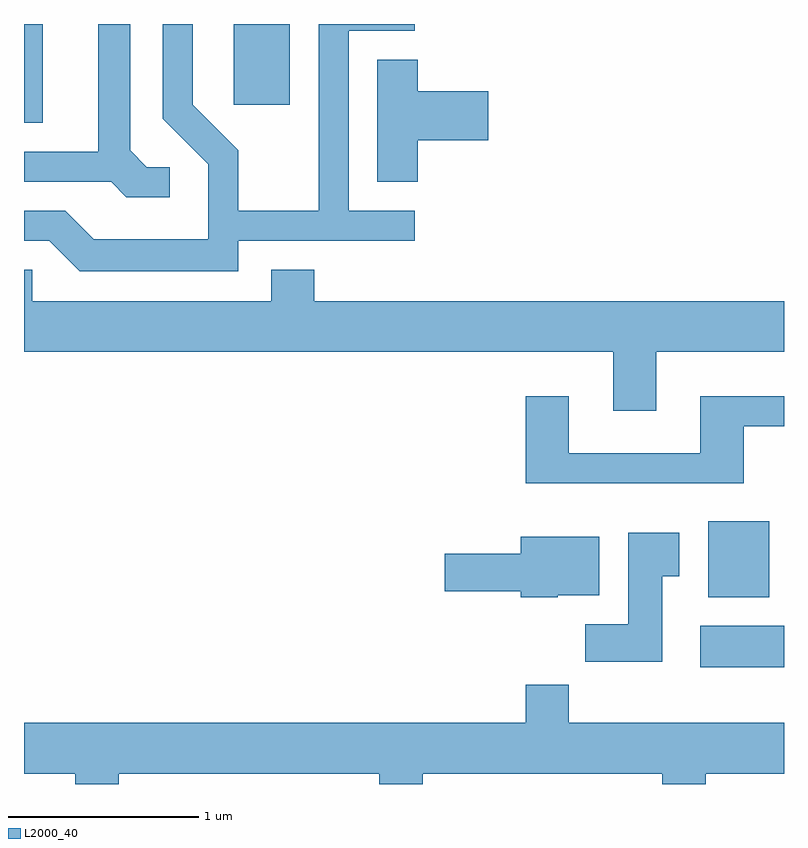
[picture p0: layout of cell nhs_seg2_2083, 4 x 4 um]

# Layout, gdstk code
import gdstk
lib = gdstk.Library(unit=1e-6, precision=1e-09)
def R(c, l, rs):  # rectangles x0, y0, x1, y1
    for r in rs: c.add(gdstk.rectangle(r[:2], r[2:], *l))
def P(c, l, *ps):  # polygons
    for p in ps: c.add(gdstk.Polygon(p, *l))
L2000_40 = (2000, 40)

nhs_seg2_2083 = lib.new_cell('nhs_seg2_2083')
R(nhs_seg2_2083, L2000_40, [(249.171,1064.416,249.611,1064.634), (249.211,1064.786,249.534,1065.184), (245.611,1067.281,245.709,1067.802), (246.716,1067.376,247.009,1067.802)])
P(nhs_seg2_2083, L2000_40, [(246.378,1067.049),(246.257,1067.049),(246.169,1067.137),(246.169,1067.802),(246.001,1067.802),(246.001,1067.129),(245.611,1067.129),(245.611,1066.971),(246.069,1066.971),(246.149,1066.891),(246.378,1066.891)],
  [(246.739,1066.661),(247.668,1066.661),(247.668,1066.819),(247.319,1066.819),(247.319,1067.766),(247.668,1067.766),(247.668,1067.802),(247.161,1067.802),(247.161,1066.819),(246.739,1066.819),(246.739,1067.137),(246.499,1067.377),(246.499,1067.802),(246.341,1067.802),(246.341,1067.304),(246.581,1067.064),(246.581,1066.669),(245.977,1066.669),(245.827,1066.819),(245.611,1066.819),(245.611,1066.661),(245.744,1066.661),(245.904,1066.501),(246.739,1066.501)],
  [(247.684,1067.191),(248.054,1067.191),(248.054,1067.449),(247.684,1067.449),(247.684,1067.614),(247.471,1067.614),(247.471,1066.971),(247.684,1066.971)],
  [(248.939,1066.076),(249.611,1066.076),(249.611,1066.344),(247.139,1066.344),(247.139,1066.509),(246.911,1066.509),(246.911,1066.344),(245.654,1066.344),(245.654,1066.509),(245.611,1066.509),(245.611,1066.076),(248.711,1066.076),(248.711,1065.766),(248.939,1065.766)],
  [(249.399,1065.686),(249.611,1065.686),(249.611,1065.844),(249.171,1065.844),(249.171,1065.544),(248.479,1065.544),(248.479,1065.844),(248.251,1065.844),(248.251,1065.386),(249.399,1065.386)],
  [(248.969,1064.896),(249.059,1064.896),(249.059,1065.124),(248.791,1065.124),(248.791,1064.644),(248.566,1064.644),(248.566,1064.446),(248.969,1064.446)],
  [(248.42,1064.796),(248.639,1064.796),(248.639,1065.104),(248.226,1065.104),(248.226,1065.014),(247.826,1065.014),(247.826,1064.816),(248.226,1064.816),(248.226,1064.786),(248.42,1064.786)],
  [(246.109,1063.856),(247.481,1063.856),(247.481,1063.802),(247.709,1063.802),(247.709,1063.856),(248.971,1063.856),(248.971,1063.802),(249.199,1063.802),(249.199,1063.856),(249.611,1063.856),(249.611,1064.124),(248.479,1064.124),(248.479,1064.324),(248.251,1064.324),(248.251,1064.124),(245.611,1064.124),(245.611,1063.856),(245.881,1063.856),(245.881,1063.802),(246.109,1063.802)])

lib.write_gds('nhs_seg2_2083.gds')
